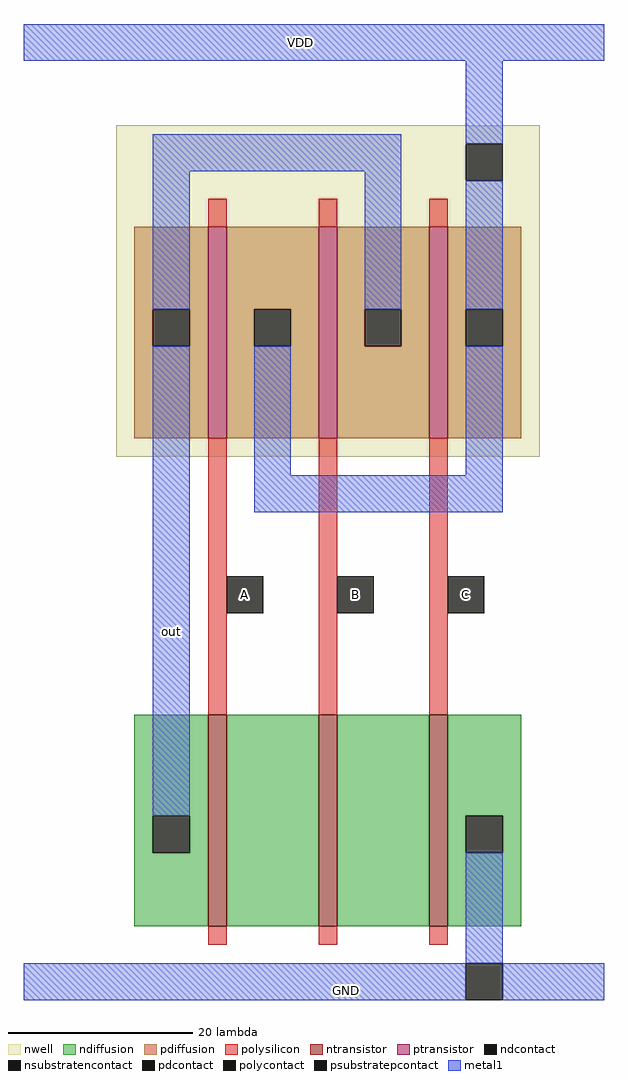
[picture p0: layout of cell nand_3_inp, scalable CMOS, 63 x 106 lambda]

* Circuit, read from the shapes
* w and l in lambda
.subckt nand_3_inp A B C GND VDD out
M1 n1 A out GND nfet w=23 l=2
M2 n2 B n1 GND nfet w=23 l=2
M3 GND C n2 GND nfet w=23 l=2
M4 VDD A out VDD pfet w=23 l=2
M5 out B VDD VDD pfet w=23 l=2
M6 VDD C out VDD pfet w=23 l=2
.ends

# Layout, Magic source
magic
tech scmos
<< nwell >>
rect -14 -4 32 32
<< polysilicon >>
rect -4 21 -2 24
rect 8 21 10 24
rect 20 21 22 24
rect -4 -32 -2 -2
rect 8 -32 10 -2
rect 20 -32 22 -2
rect -4 -57 -2 -55
rect 8 -57 10 -55
rect 20 -57 22 -55
<< ndiffusion >>
rect -12 -43 -4 -32
rect -12 -47 -10 -43
rect -6 -47 -4 -43
rect -12 -55 -4 -47
rect -2 -55 8 -32
rect 10 -55 20 -32
rect 22 -43 30 -32
rect 22 -47 24 -43
rect 28 -47 30 -43
rect 22 -55 30 -47
<< pdiffusion >>
rect -12 12 -4 21
rect -12 8 -10 12
rect -6 8 -4 12
rect -12 -2 -4 8
rect -2 12 8 21
rect -2 8 1 12
rect 5 8 8 12
rect -2 -2 8 8
rect 10 12 20 21
rect 10 8 13 12
rect 17 8 20 12
rect 10 -2 20 8
rect 22 12 30 21
rect 22 8 24 12
rect 28 8 30 12
rect 22 -2 30 8
<< metal1 >>
rect -24 39 39 43
rect -10 27 17 31
rect -10 12 -6 27
rect 13 12 17 27
rect -10 -43 -6 8
rect 24 30 28 39
rect 24 12 28 26
rect 1 -6 5 8
rect 24 -6 28 8
rect 1 -10 28 -6
rect 24 -59 28 -47
rect -24 -63 24 -59
rect 28 -63 39 -59
<< ntransistor >>
rect -4 -55 -2 -32
rect 8 -55 10 -32
rect 20 -55 22 -32
<< ptransistor >>
rect -4 -2 -2 21
rect 8 -2 10 21
rect 20 -2 22 21
<< polycontact >>
rect -2 -21 2 -17
rect 10 -21 14 -17
rect 22 -21 26 -17
<< ndcontact >>
rect -10 -47 -6 -43
rect 24 -47 28 -43
<< pdcontact >>
rect -10 8 -6 12
rect 1 8 5 12
rect 13 8 17 12
rect 24 8 28 12
<< psubstratepcontact >>
rect 24 -63 28 -59
<< nsubstratencontact >>
rect 24 26 28 30
<< labels >>
rlabel metal1 6 41 6 41 5 VDD
rlabel metal1 -8 -23 -8 -23 1 out
rlabel polycontact 0 -19 0 -19 1 A
rlabel polycontact 12 -19 12 -19 1 B
rlabel polycontact 24 -19 24 -19 1 C
rlabel metal1 11 -62 11 -62 1 GND
<< end >>
